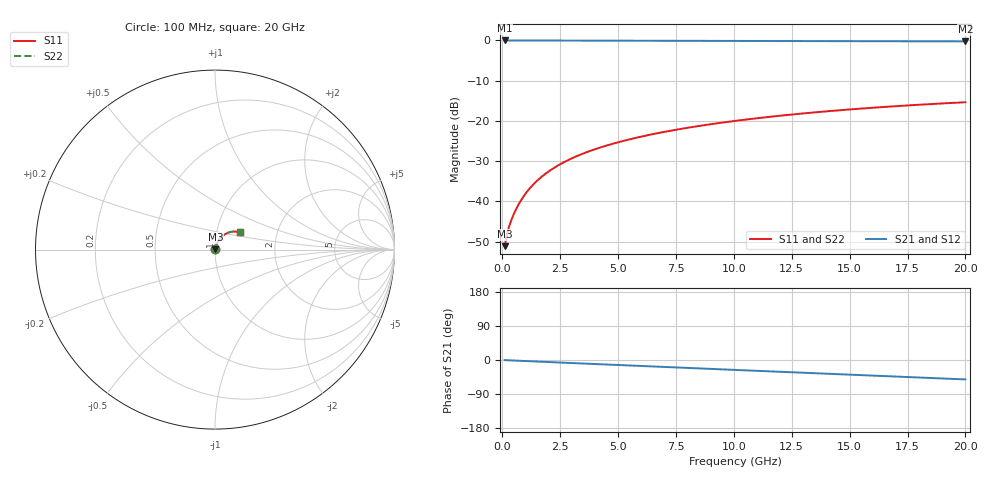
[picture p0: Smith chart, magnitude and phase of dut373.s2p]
! Touchstone file exported from HFSS 2026.1.0
!  File:  C:/ffzhzh/LocalFiles/Ansys_Project_Files/temp_train_BSMRDL_373_1783011824_55676.aedt
!  Generated:  01:05:14 AM Jul  3, 2026
!  Design:  BSMRDL
!  Project:  temp_train_BSMRDL_373_1783011824_55676
! Variables:
!  h_bsmrdl = 5.55um
!  h_ox = 20um
!  h_rdl = 5um
!  h_sub = 80um
!  h_tmrdl = 5um
!  h_tsv = 80um
!  h_via = 3um
!  l_bsmrdl = 892.02um
!  l_sub = 1292.02um
!  l_tmrdl = 200um
!  m_sub = 200um
!  pitch = 41.33um
!  r_tsv = 6um
!  s_tmrdl = 10um
!  w_bsmrdl = 29.89um
!  w_sub = 500um
!  w_tmrdl = 12um
!  x_tsv_center1 = 206um
!  x_tsv_center2 = 1127.91um
!  x_tsv_center3 = 1339.91um
!  x_tsv_center4 = 2261.82um
!  x_tsv_center5 = 2473.82um
!  x_tsv_center6 = 3395.73um
# GHz S MA R 50.000000
! Terminal data exported
! Port[1] = BSM_RDL1_1_T1
! Port[2] = BSM_RDL1_1_T2
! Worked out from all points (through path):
!   200 points, 100 MHz to 20 GHz, reference 50 ohm
!   highest |S21| = -0.02 dB at 100 MHz (marker M1); lowest = -0.3 dB at 20 GHz (marker M2)
!   group delay of S21, straight-line fit = 7.1 ps
!   lowest |S11| = -51.1 dB at 100 MHz (marker M3), VSWR 1.01, Z = 50.2 + j0.162 ohm
!   |S11| at or under -10 dB: start of sweep to end of sweep
!   |S22| runs from -51.1 to -15.4 dB; largest |S21 - S12| = 1.7e-14
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0.1  0.002784 35.5  0.9977 -0.3  0.9977 -0.3  0.002784 35.5
! Gamma 0 0 0 0
! Port Impedance 50 0 50 0
0.2  0.00391 47.7  0.9974 -0.6  0.9974 -0.6  0.00391 47.7
0.3  0.004948 54.3  0.9972 -0.8  0.9972 -0.8  0.004947 54.3
0.4  0.005965 59.0  0.9971 -1.1  0.9971 -1.1  0.005964 59.0
0.5  0.007 62.5  0.997 -1.4  0.997 -1.4  0.006999 62.5
0.6  0.008059 65.3  0.9969 -1.6  0.9969 -1.6  0.008058 65.3
0.8  0.01023 68.9  0.9967 -2.2  0.9967 -2.2  0.01023 69.0
1  0.01245 71.1  0.9965 -2.7  0.9965 -2.7  0.01245 71.1
1.2  0.01469 72.4  0.9963 -3.2  0.9963 -3.2  0.01469 72.4
1.4  0.01693 73.2  0.9961 -3.8  0.9961 -3.8  0.01693 73.2
1.7  0.02027 73.7  0.9957 -4.6  0.9957 -4.6  0.02027 73.7
2.2  0.02576 73.6  0.995 -5.9  0.995 -5.9  0.02576 73.7
2.8  0.03217 72.9  0.9941 -7.5  0.9941 -7.5  0.03217 72.9
3.5  0.03942 71.6  0.993 -9.3  0.993 -9.3  0.03942 71.7
4.2  0.04645 70.2  0.992 -11.1  0.992 -11.1  0.04645 70.3
5  0.05428 68.6  0.9908 -13.2  0.9908 -13.2  0.05427 68.6
6.8  0.07124 64.7  0.9882 -17.8  0.9882 -17.8  0.07122 64.8
8.3  0.08481 61.4  0.9862 -21.7  0.9862 -21.7  0.08478 61.5
10.1  0.1004 57.3  0.9837 -26.3  0.9837 -26.3  0.1004 57.5
13.4  0.127 49.7  0.9791 -34.7  0.9791 -34.7  0.1269 49.9
16.7  0.1505 41.9  0.9746 -43.0  0.9746 -43.0  0.1504 42.1
20  0.1705 34.0  0.9704 -51.3  0.9704 -51.3  0.1704 34.4
